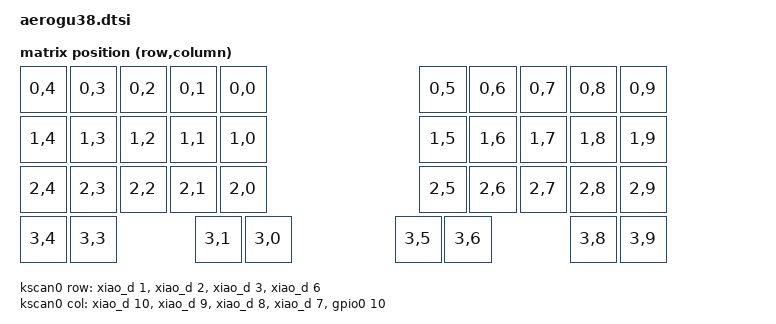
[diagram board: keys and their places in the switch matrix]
#include <dt-bindings/zmk/matrix_transform.h>
#include <physical_layouts.dtsi>
#include <behaviors/battery_history_request.dtsi>

/ {
    chosen {
        zmk,kscan = &kscan0;
        zmk,physical-layout = &physical_layout;
    };

    physical_layout: physical_layout {
        compatible = "zmk,physical-layout";
        display-name = "Default";
        transform = <&default_transform>;

        keys  //                     w   h    x    y     rot    rx    ry
            = <&key_physical_attrs 100 100    0    0       0     0     0>
            , <&key_physical_attrs 100 100  100    0       0     0     0>
            , <&key_physical_attrs 100 100  200    0       0     0     0>
            , <&key_physical_attrs 100 100  300    0       0     0     0>
            , <&key_physical_attrs 100 100  400    0       0     0     0>
            , <&key_physical_attrs 100 100  800    0       0     0     0>
            , <&key_physical_attrs 100 100  900    0       0     0     0>
            , <&key_physical_attrs 100 100 1000    0       0     0     0>
            , <&key_physical_attrs 100 100 1100    0       0     0     0>
            , <&key_physical_attrs 100 100 1200    0       0     0     0>
            , <&key_physical_attrs 100 100    0  100       0     0     0>
            , <&key_physical_attrs 100 100  100  100       0     0     0>
            , <&key_physical_attrs 100 100  200  100       0     0     0>
            , <&key_physical_attrs 100 100  300  100       0     0     0>
            , <&key_physical_attrs 100 100  400  100       0     0     0>
            , <&key_physical_attrs 100 100  800  100       0     0     0>
            , <&key_physical_attrs 100 100  900  100       0     0     0>
            , <&key_physical_attrs 100 100 1000  100       0     0     0>
            , <&key_physical_attrs 100 100 1100  100       0     0     0>
            , <&key_physical_attrs 100 100 1200  100       0     0     0>
            , <&key_physical_attrs 100 100    0  200       0     0     0>
            , <&key_physical_attrs 100 100  100  200       0     0     0>
            , <&key_physical_attrs 100 100  200  200       0     0     0>
            , <&key_physical_attrs 100 100  300  200       0     0     0>
            , <&key_physical_attrs 100 100  400  200       0     0     0>
            , <&key_physical_attrs 100 100  800  200       0     0     0>
            , <&key_physical_attrs 100 100  900  200       0     0     0>
            , <&key_physical_attrs 100 100 1000  200       0     0     0>
            , <&key_physical_attrs 100 100 1100  200       0     0     0>
            , <&key_physical_attrs 100 100 1200  200       0     0     0>
            // Row 3 (bottom): outer pinky/ring keys + thumb cluster + mirror.
            // Outer keys (x=0,100 and x=1100,1200) extend aerogu34's 34
            // layout to 38 by adding one switch directly under each of
            // Z, X, ., /.
            , <&key_physical_attrs 100 100    0  300       0     0     0>
            , <&key_physical_attrs 100 100  100  300       0     0     0>
            , <&key_physical_attrs 100 100  350  300       0     0     0>
            , <&key_physical_attrs 100 100  450  300       0     0     0>
            , <&key_physical_attrs 100 100  750  300       0     0     0>
            , <&key_physical_attrs 100 100  850  300       0     0     0>
            , <&key_physical_attrs 100 100 1100  300       0     0     0>
            , <&key_physical_attrs 100 100 1200  300       0     0     0>
            ;
    };

    default_transform: default_transform {
        compatible = "zmk,matrix-transform";
        columns = <10>;
        rows = <4>;
        // Row 3 outer extension keys reuse the existing 4x5 matrix:
        //   RC(3,4) / RC(3,3) are wired on the left half under Z / X
        //   RC(3,8) / RC(3,9) are RC(3,3) / RC(3,4) on the right half raw
        //   matrix, picked up by col-offset = 5 in aerogu38_right.overlay.
        // No new kscan GPIOs are required.
        map = <
            RC(0,4) RC(0,3) RC(0,2) RC(0,1) RC(0,0)                    RC(0,5) RC(0,6) RC(0,7) RC(0,8) RC(0,9)
            RC(1,4) RC(1,3) RC(1,2) RC(1,1) RC(1,0)                    RC(1,5) RC(1,6) RC(1,7) RC(1,8) RC(1,9)
            RC(2,4) RC(2,3) RC(2,2) RC(2,1) RC(2,0)                    RC(2,5) RC(2,6) RC(2,7) RC(2,8) RC(2,9)
            RC(3,4) RC(3,3)         RC(3,1) RC(3,0)            RC(3,5) RC(3,6)         RC(3,8) RC(3,9)
        >;
    };

    kscan0: kscan0 {
        compatible = "zmk,kscan-gpio-matrix";
        diode-direction = "col2row";
        wakeup-source;

        row-gpios
            = <&xiao_d 1 (GPIO_ACTIVE_HIGH | GPIO_PULL_DOWN)>
            , <&xiao_d 2 (GPIO_ACTIVE_HIGH | GPIO_PULL_DOWN)>
            , <&xiao_d 3 (GPIO_ACTIVE_HIGH | GPIO_PULL_DOWN)>
            , <&xiao_d 6 (GPIO_ACTIVE_HIGH | GPIO_PULL_DOWN)>
            ;

        col-gpios
            = <&xiao_d 10 GPIO_ACTIVE_HIGH>
            , <&xiao_d 9  GPIO_ACTIVE_HIGH>
            , <&xiao_d 8  GPIO_ACTIVE_HIGH>
            , <&xiao_d 7  GPIO_ACTIVE_HIGH>
            , <&gpio0 10  GPIO_ACTIVE_HIGH>
            ;
    };
};

&pinctrl {
    spi0_default: spi0_default {
        group1 {
            psels = <NRF_PSEL(SPIM_SCK, 0, 5)>,
                <NRF_PSEL(SPIM_MOSI, 0, 4)>,
                <NRF_PSEL(SPIM_MISO, 0, 4)>;
        };
    };

    spi0_sleep: spi0_sleep {
        group1 {
            psels = <NRF_PSEL(SPIM_SCK, 0, 5)>,
                <NRF_PSEL(SPIM_MOSI, 0, 4)>,
                <NRF_PSEL(SPIM_MISO, 0, 4)>;
            low-power-enable;
        };
    };
};

&spi0 {
    status = "disabled";
    compatible = "nordic,nrf-spim";
    pinctrl-0 = <&spi0_default>;
    pinctrl-1 = <&spi0_sleep>;
    pinctrl-names = "default", "sleep";
    cs-gpios = <&gpio0 9 GPIO_ACTIVE_LOW>;
};
